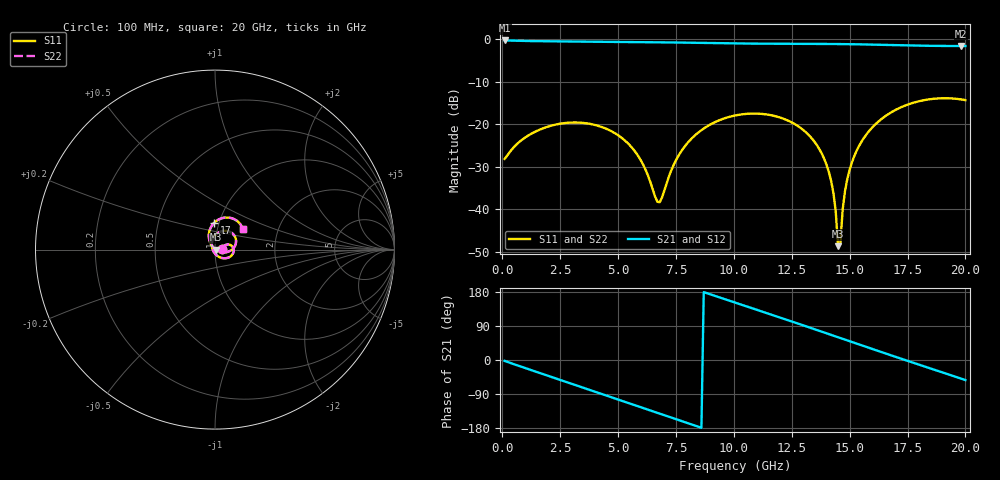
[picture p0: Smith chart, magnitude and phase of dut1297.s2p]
! Touchstone file exported from HFSS 2026.1.0
!  File:  C:/ffzhzh/LocalFiles/Ansys_Project_Files/temp_train_TSV_RDL_1297_1783332935_38820.aedt
!  Generated:  06:26:12 PM Jul  6, 2026
!  Design:  TSV_RDL
!  Project:  temp_train_TSV_RDL_1297_1783332935_38820
! Variables:
!  h_bsmrdl = 2.34um
!  h_ox = 20um
!  h_rdl = 5um
!  h_sub = 98.48um
!  h_tmrdl = 5.45um
!  h_tsv = 98.48um
!  h_via = 3um
!  l_bsmrdl = 963.62um
!  l_sub = 6083.19um
!  l_tmrdl = 675.11um
!  m_sub = 200um
!  pitch = 23.99um
!  r_tsv = 10.93um
!  s_tmrdl = 10um
!  w_bsmrdl = 17.7um
!  w_sub = 500um
!  w_tmrdl = 12.93um
!  x_tsv_center1 = 681.575um
!  x_tsv_center2 = 1662.895um
!  x_tsv_center3 = 2350.935um
!  x_tsv_center4 = 3332.255um
!  x_tsv_center5 = 4020.295um
!  x_tsv_center6 = 5001.615um
# GHz S MA R 50.000000
! Terminal data exported
! Port[1] = TM_RDL1_1_T1
! Port[2] = TM_RDL5_1_T1
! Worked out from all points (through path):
!   200 points, 100 MHz to 20 GHz, reference 50 ohm
!   highest |S21| = -0.34 dB at 100 MHz (marker M1); lowest = -1.7 dB at 19.8 GHz (marker M2)
!   group delay of S21, straight-line fit = 57.3 ps
!   lowest |S11| = -48.7 dB at 14.5 GHz (marker M3), VSWR 1.01, Z = 50.4 - j0.00513 ohm
!   |S11| at or under -10 dB: start of sweep to end of sweep
!   |S22| runs from -47.8 to -13.9 dB; largest |S21 - S12| = 1.7e-14
!   S11 on the Smith chart (normalised r, x): 100 MHz: 1.08, +0.01; 17 GHz: 0.95, +0.29; 20 GHz: 1.32, +0.31
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0.1  0.03901 8.8  0.9617 -2.3  0.9617 -2.3  0.03901 8.8
! Gamma 0 0 0 0
! Port Impedance 50 0 50 0
1.5  0.08335 19.6  0.9437 -31.9  0.9437 -31.9  0.08333 19.7
3.5  0.1033 -10.2  0.9324 -73.2  0.9324 -73.2  0.1032 -10.1
5.5  0.05666 -53.4  0.924 -114.6  0.924 -114.6  0.05649 -53.2
6.8  0.01209 -166.8  0.9158 -141.7  0.9158 -141.7  0.0119 -167.6
7.4  0.03314 122.3  0.9108 -154.1  0.9108 -154.1  0.03319 121.9
8  0.06002 100.8  0.9052 -166.5  0.9052 -166.5  0.06012 100.6
10.1  0.127 53.0  0.8867 150.6  0.8867 150.6  0.1271 53.1
12  0.1194 14.8  0.8793 112.0  0.8793 112.0  0.1194 15.1
13.4  0.06625 -12.5  0.8772 83.1  0.8772 83.1  0.06622 -11.9
14.2  0.0216 -24.8  0.8745 66.4  0.8745 66.4  0.02157 -22.9
14.4  0.009473 -21.5  0.8735 62.2  0.8735 62.2  0.009552 -17.0
14.5  0.003677 -0.8  0.8729 60.1  0.8729 60.1  0.004061 8.7
14.6  0.003964 108.4  0.8723 58.0  0.8723 58.0  0.004507 101.5
14.7  0.009925 126.8  0.8716 55.9  0.8716 55.9  0.01024 122.9
14.8  0.01624 129.6  0.8709 53.8  0.8709 53.8  0.01649 127.2
15.2  0.04199 126.2  0.8677 45.4  0.8677 45.4  0.0422 125.3
16.7  0.1326 98.3  0.851 14.2  0.851 14.2  0.1328 98.1
17  0.1476 92.5  0.8473 8.0  0.8473 8.0  0.1479 92.4
18.3  0.193 67.6  0.8333 -18.5  0.8333 -18.5  0.1933 67.6
19.8  0.1954 39.7  0.8269 -48.8  0.8269 -48.8  0.1958 39.8
20  0.1913 36.0  0.827 -52.9  0.827 -52.9  0.1917 36.2
